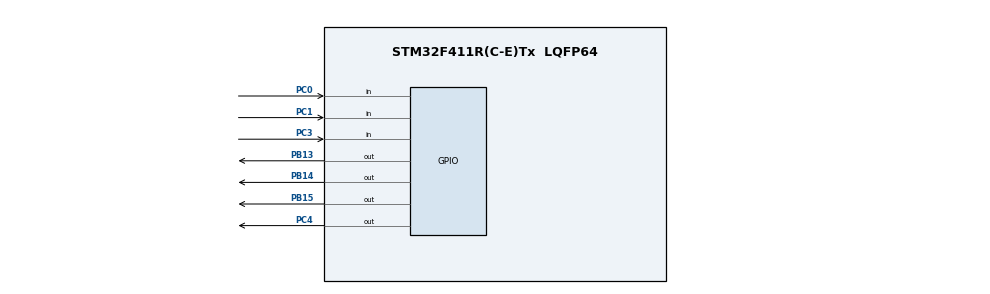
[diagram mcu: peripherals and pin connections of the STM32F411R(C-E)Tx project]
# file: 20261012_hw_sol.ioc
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Mcu.Family=STM32F4
Mcu.Name=STM32F411R(C-E)Tx
Mcu.Package=LQFP64
NVIC.PriorityGroup=NVIC_PRIORITYGROUP_4
PB13.Signal=GPIO_Output
PB14.Signal=GPIO_Output
PB15.Signal=GPIO_Output
PC0.Signal=GPIO_Input
PC1.Signal=GPIO_Input
PC3.Signal=GPIO_Input
PC4.Signal=GPIO_Output
PH0\ -\ OSC_IN.Mode=HSE-External-Oscillator
PH0\ -\ OSC_IN.Signal=RCC_OSC_IN
PH1\ -\ OSC_OUT.Mode=HSE-External-Oscillator
PH1\ -\ OSC_OUT.Signal=RCC_OSC_OUT
ProjectManager.HeapSize=0x200
ProjectManager.StackSize=0x400
ProjectManager.TargetToolchain=STM32CubeIDE
RCC.48MHZClocksFreq_Value=50000000
RCC.AHBFreq_Value=100000000
RCC.APB1CLKDivider=RCC_HCLK_DIV2
RCC.APB1Freq_Value=50000000
RCC.APB1TimFreq_Value=100000000
RCC.APB2Freq_Value=100000000
RCC.APB2TimFreq_Value=100000000
RCC.CortexFreq_Value=100000000
RCC.HCLKFreq_Value=100000000
RCC.HSE_VALUE=8000000
RCC.HSI_VALUE=16000000
RCC.LSE_VALUE=32768
RCC.PLLM=4
RCC.PLLN=100
RCC.PLLSourceVirtual=RCC_PLLSOURCE_HSE
RCC.SYSCLKFreq_VALUE=100000000
RCC.SYSCLKSource=RCC_SYSCLKSOURCE_PLLCLK
RCC.VCOOutputFreq_Value=200000000
board=custom

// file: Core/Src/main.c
/* USER CODE BEGIN Header */
/**
 ******************************************************************************
 * @file           : main.c
 * @brief          : Main program body
 ******************************************************************************
 * @attention
 *
 * Copyright (c) 2026 STMicroelectronics.
 * All rights reserved.
 *
 * This software is licensed under terms that can be found in the LICENSE file
 * in the root directory of this software component.
 * If no LICENSE file comes with this software, it is provided AS-IS.
 *
 ******************************************************************************
 */
/* USER CODE END Header */
#include "main.h"

/* USER CODE BEGIN PTD */
enum {LED_ON,LED_OFF,LED_TOGGLE};
/* USER CODE END PTD */

/* USER CODE BEGIN PD */
#define BTN1_GPIO GPIOC
#define BTN1_PIN  GPIO_PIN_0
#define BTN2_GPIO GPIOC
#define BTN2_PIN  GPIO_PIN_1
#define BTN3_GPIO GPIOC
#define BTN3_PIN  GPIO_PIN_3

#define LED1_GPIO GPIOB
#define LED1_PIN  GPIO_PIN_15
#define LED2_GPIO GPIOB
#define LED2_PIN  GPIO_PIN_14
#define LED3_GPIO GPIOB
#define LED3_PIN  GPIO_PIN_13
#define LED4_GPIO GPIOC
#define LED4_PIN  GPIO_PIN_4
/* USER CODE END PD */

/* USER CODE BEGIN PFP */
void SystemClock_Config(void);
static void MX_GPIO_Init(void);
/* USER CODE END PFP */

/* USER CODE BEGIN 0 */
int state = LED_ON;

void led_on(GPIO_TypeDef* GPIOx, uint16_t GPIO_Pin){
	HAL_GPIO_WritePin(GPIOx,GPIO_Pin,GPIO_PIN_SET);

}
void led_off(GPIO_TypeDef* GPIOx, uint16_t GPIO_Pin){
	HAL_GPIO_WritePin(GPIOx,GPIO_Pin,GPIO_PIN_RESET);

}
void led_toggle(GPIO_TypeDef* GPIOx, uint16_t GPIO_Pin){
	HAL_GPIO_TogglePin(GPIOx,GPIO_Pin);

}
void led_on_state(void){
	if(HAL_GPIO_ReadPin(BTN2_GPIO, BTN2_PIN)==0){
		state = LED_OFF;
	}
	else if (HAL_GPIO_ReadPin(BTN3_GPIO, BTN3_PIN)==0){
		state = LED_TOGGLE;
	}
	led_on(LED1_GPIO,LED1_PIN);
	led_on(LED2_GPIO,LED2_PIN);
	led_on(LED3_GPIO,LED3_PIN);
	led_on(LED4_GPIO,LED4_PIN);
}
void led_off_state(void){
	if(HAL_GPIO_ReadPin(BTN1_GPIO, BTN1_PIN)==0){
		state = LED_ON;
	}
	else if (HAL_GPIO_ReadPin(BTN3_GPIO, BTN3_PIN)==0){
		state = LED_TOGGLE;
	}
	led_off(LED1_GPIO,LED1_PIN);
	led_off(LED2_GPIO,LED2_PIN);
	led_off(LED3_GPIO,LED3_PIN);
	led_off(LED4_GPIO,LED4_PIN);
}

void led_toggle_state(void){
	if(HAL_GPIO_ReadPin(BTN1_GPIO, BTN1_PIN)==0){
		state = LED_ON;
	}
	else if (HAL_GPIO_ReadPin(BTN2_GPIO, BTN2_PIN)==0){
		state = LED_OFF;
	}
	led_toggle(LED1_GPIO,LED1_PIN);
	led_toggle(LED2_GPIO,LED2_PIN);
	led_toggle(LED3_GPIO,LED3_PIN);
	led_toggle(LED4_GPIO,LED4_PIN);
}
/* USER CODE END 0 */

int main(void)
{

	/* MCU Configuration--------------------------------------------------------*/

	/* Reset of all peripherals, Initializes the Flash interface and the Systick. */
	HAL_Init();

	/* Configure the system clock */
	SystemClock_Config();

	/* Initialize all configured peripherals */
	MX_GPIO_Init();

	/* Infinite loop */
	/* USER CODE BEGIN WHILE */

	while (1)
	{ // Bug beacuse of no break; in each cases; check in real device on monday
		switch(state)
		{case LED_ON:
			led_on_state();
		case LED_OFF:
			led_off_state();

			case LED_TOGGLE:
				led_toggle_state();
		default:
			led_on_state();
			break;

			/* USER CODE END WHILE */

		}
	}
}
	/**
	 * @brief System Clock Configuration
	 * @retval None
	 */
	void SystemClock_Config(void)
	{
		RCC_OscInitTypeDef RCC_OscInitStruct = {0};
		RCC_ClkInitTypeDef RCC_ClkInitStruct = {0};

		/** Configure the main internal regulator output voltage
		 */
		__HAL_RCC_PWR_CLK_ENABLE();
		__HAL_PWR_VOLTAGESCALING_CONFIG(PWR_REGULATOR_VOLTAGE_SCALE1);

		/** Initializes the RCC Oscillators according to the specified parameters
		 * in the RCC_OscInitTypeDef structure.
		 */
		RCC_OscInitStruct.OscillatorType = RCC_OSCILLATORTYPE_HSE;
		RCC_OscInitStruct.HSEState = RCC_HSE_ON;
		RCC_OscInitStruct.PLL.PLLState = RCC_PLL_ON;
		RCC_OscInitStruct.PLL.PLLSource = RCC_PLLSOURCE_HSE;
		RCC_OscInitStruct.PLL.PLLM = 4;
		RCC_OscInitStruct.PLL.PLLN = 100;
		RCC_OscInitStruct.PLL.PLLP = RCC_PLLP_DIV2;
		RCC_OscInitStruct.PLL.PLLQ = 4;
		if (HAL_RCC_OscConfig(&RCC_OscInitStruct) != HAL_OK)
		{
			Error_Handler();
		}

		/** Initializes the CPU, AHB and APB buses clocks
		 */
		RCC_ClkInitStruct.ClockType = RCC_CLOCKTYPE_HCLK|RCC_CLOCKTYPE_SYSCLK
				|RCC_CLOCKTYPE_PCLK1|RCC_CLOCKTYPE_PCLK2;
		RCC_ClkInitStruct.SYSCLKSource = RCC_SYSCLKSOURCE_PLLCLK;
		RCC_ClkInitStruct.AHBCLKDivider = RCC_SYSCLK_DIV1;
		RCC_ClkInitStruct.APB1CLKDivider = RCC_HCLK_DIV2;
		RCC_ClkInitStruct.APB2CLKDivider = RCC_HCLK_DIV1;

		if (HAL_RCC_ClockConfig(&RCC_ClkInitStruct, FLASH_LATENCY_3) != HAL_OK)
		{
			Error_Handler();
		}
	}

	/**
	 * @brief GPIO Initialization Function
	 * @param None
	 * @retval None
	 */
	static void MX_GPIO_Init(void)
	{
		GPIO_InitTypeDef GPIO_InitStruct = {0};

		/* GPIO Ports Clock Enable */
		__HAL_RCC_GPIOH_CLK_ENABLE();
		__HAL_RCC_GPIOC_CLK_ENABLE();
		__HAL_RCC_GPIOB_CLK_ENABLE();

		/*Configure GPIO pin Output Level */
		HAL_GPIO_WritePin(GPIOC, GPIO_PIN_4, GPIO_PIN_RESET);

		/*Configure GPIO pin Output Level */
		HAL_GPIO_WritePin(GPIOB, GPIO_PIN_13|GPIO_PIN_14|GPIO_PIN_15, GPIO_PIN_RESET);

		/*Configure GPIO pins : PC0 PC1 PC3 */
		GPIO_InitStruct.Pin = GPIO_PIN_0|GPIO_PIN_1|GPIO_PIN_3;
		GPIO_InitStruct.Mode = GPIO_MODE_INPUT;
		GPIO_InitStruct.Pull = GPIO_NOPULL;
		HAL_GPIO_Init(GPIOC, &GPIO_InitStruct);

		/*Configure GPIO pin : PC4 */
		GPIO_InitStruct.Pin = GPIO_PIN_4;
		GPIO_InitStruct.Mode = GPIO_MODE_OUTPUT_PP;
		GPIO_InitStruct.Pull = GPIO_NOPULL;
		GPIO_InitStruct.Speed = GPIO_SPEED_FREQ_LOW;
		HAL_GPIO_Init(GPIOC, &GPIO_InitStruct);

		/*Configure GPIO pins : PB13 PB14 PB15 */
		GPIO_InitStruct.Pin = GPIO_PIN_13|GPIO_PIN_14|GPIO_PIN_15;
		GPIO_InitStruct.Mode = GPIO_MODE_OUTPUT_PP;
		GPIO_InitStruct.Pull = GPIO_NOPULL;
		GPIO_InitStruct.Speed = GPIO_SPEED_FREQ_LOW;
		HAL_GPIO_Init(GPIOB, &GPIO_InitStruct);

	}

	/**
	 * @brief  This function is executed in case of error occurrence.
	 * @retval None
	 */
	void Error_Handler(void)
	{
		__disable_irq();
		while (1)
		{
		}
	}
